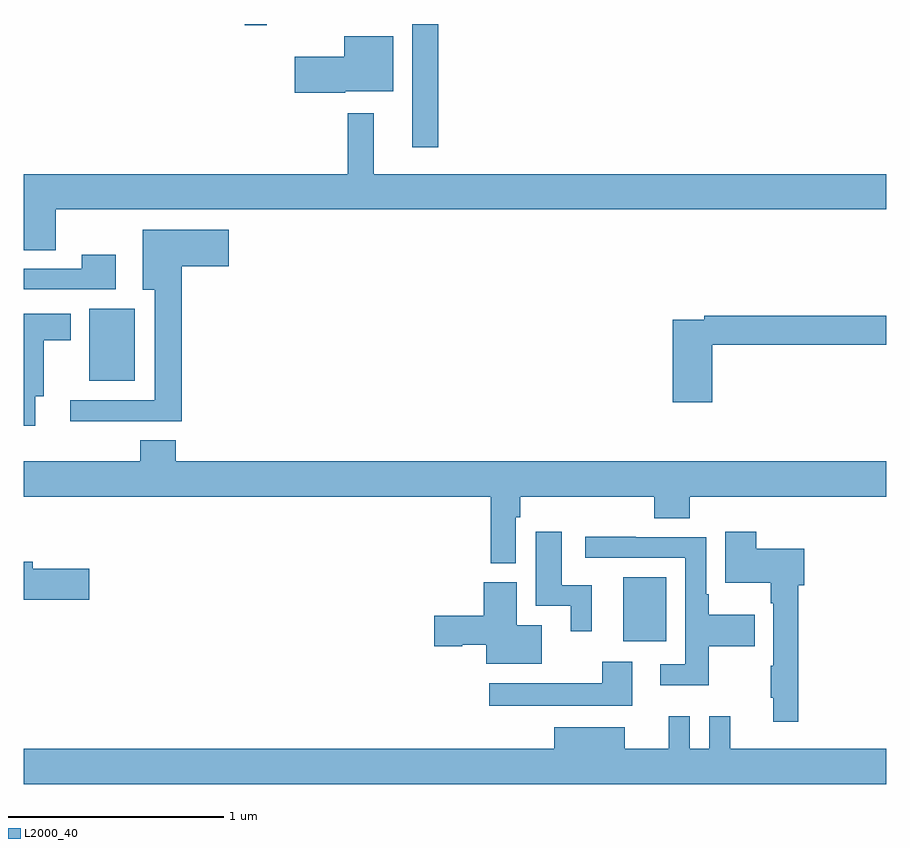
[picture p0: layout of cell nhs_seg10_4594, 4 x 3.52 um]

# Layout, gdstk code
import gdstk
lib = gdstk.Library(unit=1e-6, precision=1e-09)
def R(c, l, rs):  # rectangles x0, y0, x1, y1
    for r in rs: c.add(gdstk.rectangle(r[:2], r[2:], *l))
def P(c, l, *ps):  # polygons
    for p in ps: c.add(gdstk.Polygon(p, *l))
L2000_40 = (2000, 40)

nhs_seg10_4594 = lib.new_cell('nhs_seg10_4594')
R(nhs_seg10_4594, L2000_40, [(375.779,1307.639,375.979,1307.935), (373.304,1308.845,373.516,1309.18), (374.801,1309.929,374.923,1310.5), (374.024,1310.495,374.128,1310.5)])
P(nhs_seg10_4594, L2000_40, [(374.49,1310.189),(374.713,1310.189),(374.713,1310.443),(374.486,1310.443),(374.486,1310.347),(374.256,1310.347),(374.256,1310.182),(374.49,1310.182)],
  [(373.149,1309.64),(377,1309.64),(377,1309.804),(374.623,1309.804),(374.623,1310.086),(374.502,1310.086),(374.502,1309.804),(373,1309.804),(373,1309.64),(373.001,1309.64),(373.001,1309.45),(373.149,1309.45)],
  [(373.733,1309.376),(373.951,1309.376),(373.951,1309.546),(373.553,1309.546),(373.553,1309.268),(373.607,1309.268),(373.607,1308.756),(373.215,1308.756),(373.215,1308.659),(373.733,1308.659)],
  [(373.426,1309.429),(373.27,1309.429),(373.27,1309.365),(373,1309.365),(373,1309.269),(373.426,1309.269)],
  [(373.054,1308.773),(373.093,1308.773),(373.093,1309.034),(373.219,1309.034),(373.219,1309.156),(373,1309.156),(373,1308.636),(373.054,1308.636)],
  [(376.193,1309.012),(377,1309.012),(377,1309.148),(376.156,1309.148),(376.156,1309.128),(376.01,1309.128),(376.01,1308.747),(376.193,1308.747)],
  [(375.282,1308.212),(375.302,1308.212),(375.302,1308.308),(375.923,1308.308),(375.923,1308.209),(376.088,1308.209),(376.088,1308.308),(377,1308.308),(377,1308.472),(373.706,1308.472),(373.706,1308.571),(373.541,1308.571),(373.541,1308.472),(373,1308.472),(373,1308.308),(375.166,1308.308),(375.166,1308),(375.282,1308)],
  [(376.592,1307.897),(376.619,1307.897),(376.619,1308.067),(376.397,1308.067),(376.397,1308.145),(376.253,1308.145),(376.253,1307.909),(376.464,1307.909),(376.464,1307.813),(376.476,1307.813),(376.476,1307.525),(376.464,1307.525),(376.464,1307.377),(376.475,1307.377),(376.475,1307.265),(376.592,1307.265)],
  [(375.634,1307.898),(375.496,1307.898),(375.496,1308.145),(375.374,1308.145),(375.374,1307.802),(375.536,1307.802),(375.536,1307.685),(375.634,1307.685)],
  [(376.177,1307.614),(376.391,1307.614),(376.391,1307.761),(376.177,1307.761),(376.177,1307.857),(376.164,1307.857),(376.164,1308.12),(375.839,1308.12),(375.839,1308.122),(375.603,1308.122),(375.603,1308.024),(376.068,1308.024),(376.068,1307.532),(375.951,1307.532),(375.951,1307.435),(376.177,1307.435)],
  [(373.303,1307.973),(373.042,1307.973),(373.042,1308.007),(373,1308.007),(373,1307.831),(373.303,1307.831)],
  [(375.403,1307.713),(375.286,1307.713),(375.286,1307.911),(375.134,1307.911),(375.134,1307.756),(374.904,1307.756),(374.904,1307.614),(375.033,1307.614),(375.033,1307.621),(375.146,1307.621),(375.146,1307.534),(375.403,1307.534)],
  [(375.823,1307.542),(375.683,1307.542),(375.683,1307.443),(375.159,1307.443),(375.159,1307.339),(375.823,1307.339)],
  [(377,1307.14),(376.277,1307.14),(376.277,1307.29),(376.179,1307.29),(376.179,1307.14),(376.089,1307.14),(376.089,1307.29),(375.992,1307.29),(375.992,1307.14),(375.787,1307.14),(375.787,1307.239),(375.461,1307.239),(375.461,1307.14),(373,1307.14),(373,1306.976),(377,1306.976)])

lib.write_gds('nhs_seg10_4594.gds')
